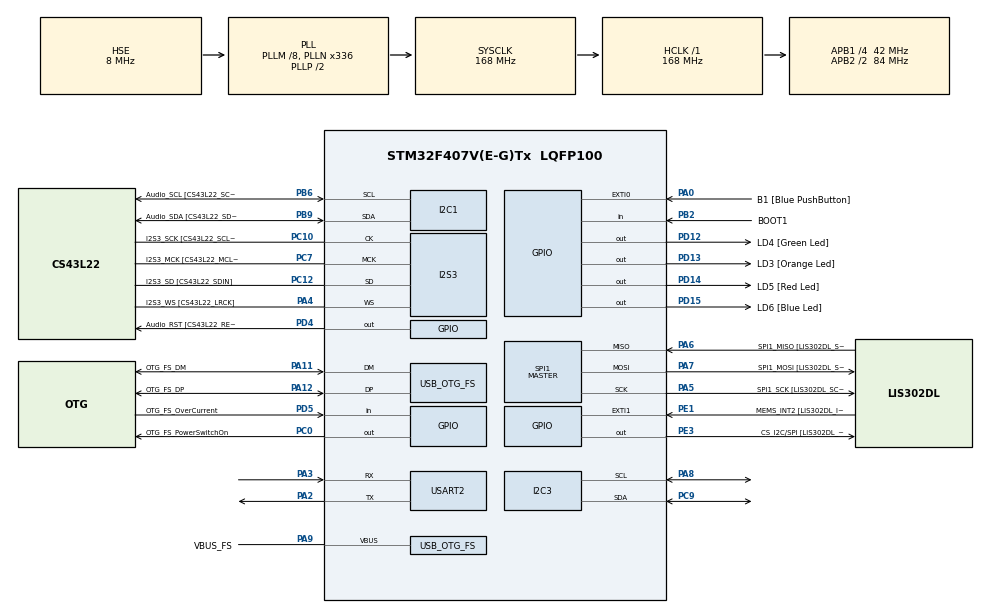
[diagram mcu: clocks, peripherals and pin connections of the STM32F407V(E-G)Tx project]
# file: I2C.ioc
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I2C3.I2C_Mode=I2C_Fast
I2S3.AudioFreq-Half_Duplex_Master=I2S_AUDIOFREQ_96K
I2S3.ErrorAudioFreq=-2.34 %
I2S3.ErrorAudioFreq-Half_Duplex_Master=0.8 %
I2S3.FullDuplexMode=I2S_FULLDUPLEXMODE_DISABLE
I2S3.Instance=SPI$Index
I2S3.RealAudioFreq=93.75 KHz
I2S3.RealAudioFreq-Half_Duplex_Master=96.774 KHz
I2S3.VirtualMode=I2S_MODE_MASTER
Mcu.Family=STM32F4
Mcu.Name=STM32F407V(E-G)Tx
Mcu.Package=LQFP100
NVIC.OTG_FS_IRQn=true\:0\:0\:false\:false\:true\:true\:true
NVIC.PriorityGroup=NVIC_PRIORITYGROUP_0
PA0-WKUP.GPIO_Label=B1 [Blue PushButton]
PA0-WKUP.GPIO_ModeDefaultEXTI=GPIO_MODE_EVT_RISING
PA0-WKUP.GPIO_PuPd=GPIO_NOPULL
PA0-WKUP.Signal=GPXTI0
PA10.GPIO_Label=OTG_FS_ID
PA10.GPIO_Mode=GPIO_MODE_AF_PP
PA10.GPIO_PuPd=GPIO_NOPULL
PA10.GPIO_Speed=GPIO_SPEED_FREQ_LOW
PA10.Signal=USB_OTG_FS_ID
PA11.GPIO_Label=OTG_FS_DM
PA11.GPIO_Mode=GPIO_MODE_AF_PP
PA11.GPIO_PuPd=GPIO_NOPULL
PA11.GPIO_Speed=GPIO_SPEED_FREQ_LOW
PA11.Mode=Host_Only
PA11.Signal=USB_OTG_FS_DM
PA12.GPIO_Label=OTG_FS_DP
PA12.GPIO_Mode=GPIO_MODE_AF_PP
PA12.GPIO_PuPd=GPIO_NOPULL
PA12.GPIO_Speed=GPIO_SPEED_FREQ_LOW
PA12.Mode=Host_Only
PA12.Signal=USB_OTG_FS_DP
PA13.GPIO_Label=SWDIO
PA13.Mode=Serial_Wire
PA13.Signal=SYS_JTMS-SWDIO
PA14.GPIO_Label=SWCLK
PA14.Mode=Serial_Wire
PA14.Signal=SYS_JTCK-SWCLK
PA2.Mode=Asynchronous
PA2.Signal=USART2_TX
PA3.Mode=Asynchronous
PA3.Signal=USART2_RX
PA4.GPIO_Label=I2S3_WS [CS43L22_LRCK]
PA4.GPIO_Mode=GPIO_MODE_AF_PP
PA4.GPIO_PuPd=GPIO_NOPULL
PA4.GPIO_Speed=GPIO_SPEED_FREQ_LOW
PA4.Mode=Half_Duplex_Master
PA4.Signal=I2S3_WS
PA5.GPIO_Label=SPI1_SCK [LIS302DL_SCL/SPC]
PA5.GPIO_Mode=GPIO_MODE_AF_PP
PA5.GPIO_PuPd=GPIO_NOPULL
PA5.GPIO_Speed=GPIO_SPEED_FREQ_LOW
PA5.Mode=Full_Duplex_Master
PA5.Signal=SPI1_SCK
PA6.GPIO_Label=SPI1_MISO [LIS302DL_SDO]
PA6.GPIO_Mode=GPIO_MODE_AF_PP
PA6.GPIO_PuPd=GPIO_NOPULL
PA6.GPIO_Speed=GPIO_SPEED_FREQ_LOW
PA6.Mode=Full_Duplex_Master
PA6.Signal=SPI1_MISO
PA7.GPIO_Label=SPI1_MOSI [LIS302DL_SDA/SDI/SDO]
PA7.GPIO_Mode=GPIO_MODE_AF_PP
PA7.GPIO_PuPd=GPIO_NOPULL
PA7.GPIO_Speed=GPIO_SPEED_FREQ_LOW
PA7.Mode=Full_Duplex_Master
PA7.Signal=SPI1_MOSI
PA8.Mode=I2C
PA8.Signal=I2C3_SCL
PA9.GPIO_Label=VBUS_FS
PA9.GPIO_Mode=GPIO_MODE_INPUT
PA9.GPIO_PuPd=GPIO_NOPULL
PA9.Mode=Activate_VBUS
PA9.Signal=USB_OTG_FS_VBUS
PB10.GPIO_Label=CLK_IN [MP45DT02_CLK]
PB10.GPIO_Mode=GPIO_MODE_AF_PP
PB10.GPIO_PuPd=GPIO_NOPULL
PB10.GPIO_Speed=GPIO_SPEED_FREQ_LOW
PB10.Signal=I2S2_CK
PB2.GPIO_Label=BOOT1
PB2.GPIO_Mode=GPIO_MODE_INPUT
PB2.GPIO_PuPd=GPIO_NOPULL
PB2.Signal=GPIO_Input
PB3.GPIO_Label=SWO
PB3.Signal=SYS_JTDO-SWO
PB6.GPIO_Label=Audio_SCL [CS43L22_SCL]
PB6.GPIO_Mode=GPIO_MODE_AF_OD
PB6.GPIO_PuPd=GPIO_NOPULL
PB6.GPIO_Speed=GPIO_SPEED_FREQ_LOW
PB6.Mode=I2C
PB6.Signal=I2C1_SCL
PB9.GPIO_Label=Audio_SDA [CS43L22_SDA]
PB9.GPIO_Mode=GPIO_MODE_AF_OD
PB9.GPIO_PuPd=GPIO_NOPULL
PB9.GPIO_Speed=GPIO_SPEED_FREQ_LOW
PB9.Mode=I2C
PB9.Signal=I2C1_SDA
PC0.GPIO_Label=OTG_FS_PowerSwitchOn
PC0.GPIO_PuPd=GPIO_NOPULL
PC0.GPIO_Speed=GPIO_SPEED_FREQ_LOW
PC0.PinState=GPIO_PIN_SET
PC0.Signal=GPIO_Output
PC10.GPIO_Label=I2S3_SCK [CS43L22_SCLK]
PC10.GPIO_Mode=GPIO_MODE_AF_PP
PC10.GPIO_PuPd=GPIO_NOPULL
PC10.GPIO_Speed=GPIO_SPEED_FREQ_LOW
PC10.Mode=Half_Duplex_Master
PC10.Signal=I2S3_CK
PC12.GPIO_Label=I2S3_SD [CS43L22_SDIN]
PC12.GPIO_Mode=GPIO_MODE_AF_PP
PC12.GPIO_PuPd=GPIO_NOPULL
PC12.GPIO_Speed=GPIO_SPEED_FREQ_LOW
PC12.Mode=Half_Duplex_Master
PC12.Signal=I2S3_SD
PC14-OSC32_IN.GPIO_Label=PC14-OSC32_IN
PC14-OSC32_IN.Mode=LSE-External-Oscillator
PC14-OSC32_IN.Signal=RCC_OSC32_IN
PC15-OSC32_OUT.GPIO_Label=PC15-OSC32_OUT
PC15-OSC32_OUT.Mode=LSE-External-Oscillator
PC15-OSC32_OUT.Signal=RCC_OSC32_OUT
PC3.GPIO_Label=PDM_OUT [MP45DT02_DOUT]
PC3.GPIO_Mode=GPIO_MODE_AF_PP
PC3.GPIO_PuPd=GPIO_NOPULL
PC3.GPIO_Speed=GPIO_SPEED_FREQ_LOW
PC3.Signal=I2S2_SD
PC7.GPIO_Label=I2S3_MCK [CS43L22_MCLK]
PC7.GPIO_Mode=GPIO_MODE_AF_PP
PC7.GPIO_PuPd=GPIO_NOPULL
PC7.GPIO_Speed=GPIO_SPEED_FREQ_LOW
PC7.Mode=Master_Clock_Activated
PC7.Signal=I2S3_MCK
PC9.Mode=I2C
PC9.Signal=I2C3_SDA
PD12.GPIO_Label=LD4 [Green Led]
PD12.GPIO_PuPd=GPIO_NOPULL
PD12.GPIO_Speed=GPIO_SPEED_FREQ_LOW
PD12.Signal=GPIO_Output
PD13.GPIO_Label=LD3 [Orange Led]
PD13.GPIO_PuPd=GPIO_NOPULL
PD13.GPIO_Speed=GPIO_SPEED_FREQ_LOW
PD13.Signal=GPIO_Output
PD14.GPIO_Label=LD5 [Red Led]
PD14.GPIO_PuPd=GPIO_NOPULL
PD14.GPIO_Speed=GPIO_SPEED_FREQ_LOW
PD14.Signal=GPIO_Output
PD15.GPIO_Label=LD6 [Blue Led]
PD15.GPIO_PuPd=GPIO_NOPULL
PD15.GPIO_Speed=GPIO_SPEED_FREQ_LOW
PD15.Signal=GPIO_Output
PD4.GPIO_Label=Audio_RST [CS43L22_RESET]
PD4.GPIO_PuPd=GPIO_NOPULL
PD4.GPIO_Speed=GPIO_SPEED_FREQ_LOW
PD4.Signal=GPIO_Output
PD5.GPIO_Label=OTG_FS_OverCurrent
PD5.GPIO_Mode=GPIO_MODE_INPUT
PD5.GPIO_PuPd=GPIO_NOPULL
PD5.Signal=GPIO_Input
PE1.GPIO_Label=MEMS_INT2 [LIS302DL_INT2]
PE1.GPIO_ModeDefaultEXTI=GPIO_MODE_EVT_RISING
PE1.GPIO_PuPd=GPIO_NOPULL
PE1.Signal=GPXTI1
PE3.GPIO_Label=CS_I2C/SPI [LIS302DL_CS_I2C/SPI]
PE3.GPIO_PuPd=GPIO_NOPULL
PE3.GPIO_Speed=GPIO_SPEED_FREQ_LOW
PE3.Signal=GPIO_Output
PH0-OSC_IN.GPIO_Label=PH0-OSC_IN
PH0-OSC_IN.Mode=HSE-External-Oscillator
PH0-OSC_IN.Signal=RCC_OSC_IN
PH1-OSC_OUT.GPIO_Label=PH1-OSC_OUT
PH1-OSC_OUT.Mode=HSE-External-Oscillator
PH1-OSC_OUT.Signal=RCC_OSC_OUT
ProjectManager.HeapSize=0x200
ProjectManager.StackSize=0x400
ProjectManager.TargetToolchain=TrueSTUDIO
RCC.48MHZClocksFreq_Value=48000000
RCC.AHBFreq_Value=168000000
RCC.APB1CLKDivider=RCC_HCLK_DIV4
RCC.APB1Freq_Value=42000000
RCC.APB1TimFreq_Value=84000000
RCC.APB2CLKDivider=RCC_HCLK_DIV2
RCC.APB2Freq_Value=84000000
RCC.APB2TimFreq_Value=168000000
RCC.CortexFreq_Value=168000000
RCC.HCLKFreq_Value=168000000
RCC.HSE_VALUE=8000000
RCC.HSI_VALUE=16000000
RCC.PLLM=8
RCC.PLLN=336
RCC.PLLQ=7
RCC.SYSCLKFreq_VALUE=168000000
RCC.SYSCLKSource=RCC_SYSCLKSOURCE_PLLCLK
RCC.VCOOutputFreq_Value=336000000
SPI1.BaudRatePrescaler-Full_Duplex_Master=SPI_BAUDRATEPRESCALER_2
SPI1.CalculateBaudRate-Full_Duplex_Master=42.0 MBits/s
SPI1.Direction=SPI_DIRECTION_2LINES
SPI1.Mode=SPI_MODE_MASTER
SPI1.Mode-Full_Duplex_Master=SPI_MODE_MASTER
SPI1.VirtualType=VM_MASTER
USART2.VirtualMode=VM_ASYNC
USB_HOST.BSP.number=1
USB_HOST.USBH_HandleTypeDef-CDC_FS=hUsbHostFS
USB_HOST.VirtualModeFS=Cdc
USB_HOST0.BSP.STBoard=false
USB_HOST0.BSP.api=Unknown
USB_HOST0.BSP.i2caddr=0
USB_HOST0.BSP.i2creg=0
USB_HOST0.BSP.instance=PC0
USB_HOST0.BSP.ip=GPIO
USB_HOST0.BSP.mode=Output
USB_HOST0.BSP.name=Drive_VBUS_FS
USB_HOST0.BSP.solution=PC0
USB_OTG_FS.VirtualMode=Host_Only
USB_OTG_FS.phy_itface=HCD_PHY_EMBEDDED
VP_USB_HOST_VS_USB_HOST_CDC_FS.Mode=CDC_FS
board=STM32F407G-DISC1

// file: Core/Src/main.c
/* USER CODE BEGIN Header */
/**
  ******************************************************************************
  * @file           : main.c
  * @brief          : Main program body
  ******************************************************************************
  * @attention
  *
  * <h2><center>&copy; Copyright (c) 2020 STMicroelectronics.
  * All rights reserved.</center></h2>
  *
  * This software component is licensed by ST under Ultimate Liberty license
  * SLA0044, the "License"; You may not use this file except in compliance with
  * the License. You may obtain a copy of the License at:
  *                             www.st.com/SLA0044
  *
  ******************************************************************************
  */
/* USER CODE END Header */
#include "main.h"
#include "i2c.h"
#include "i2s.h"
#include "spi.h"
#include "usart.h"
#include "usb_host.h"
#include "gpio.h"

/* USER CODE BEGIN Includes */
#include	<stdio.h>
/* USER CODE END Includes */

/* USER CODE BEGIN PD */
#define	DEFAULT_TIME_OUT	10
#define	EEPROM_DATA_SIZE	10
#define	I2C_EEPROM_ADDR		0xA0
#define	EEPROM_START_ADDR	0x0
#define	DELAY_FOR_I2C_WRITE	3
/* USER CODE END PD */

/* USER CODE BEGIN PV */
typedef struct customer1 {
	int height;
	int weight;
	char name;
} customer_type1;

typedef struct customer2 {
	char name;
	int height;
	int weight;
} __attribute__ ((__packed__)) customer_type2;
/* USER CODE END PV */

void SystemClock_Config(void);
void MX_USB_HOST_Process(void);

/* USER CODE BEGIN 0 */
uint32_t	_write(uint32_t file,uint8_t* p,uint32_t len)
{
	HAL_UART_Transmit(&huart2,p,len,DEFAULT_TIME_OUT);
	return	len;
}
/* USER CODE END 0 */

int main(void)
{

  /* MCU Configuration--------------------------------------------------------*/

  /* Reset of all peripherals, Initializes the Flash interface and the Systick. */
  HAL_Init();

  /* Configure the system clock */
  SystemClock_Config();

  /* Initialize all configured peripherals */
  MX_GPIO_Init();
  MX_I2C1_Init();
  MX_I2S3_Init();
  MX_SPI1_Init();
  MX_USART2_UART_Init();
  MX_USB_HOST_Init();
  MX_I2C3_Init();

  /* Infinite loop */
  /* USER CODE BEGIN WHILE */
  uint8_t	eeprom_data[EEPROM_DATA_SIZE];
  customer_type2	c2;
  printf("<Initialization>\n");
  for(int i=0;i<EEPROM_DATA_SIZE;i++)
  {
	  eeprom_data[i] = 0x11*i;
	  printf("Mem[%d] = %02x\n",i,eeprom_data[i]);
  }

  printf("\n<Write Mem into EEPROM>\n");
  HAL_I2C_Mem_Write(&hi2c3,I2C_EEPROM_ADDR,EEPROM_START_ADDR,I2C_MEMADD_SIZE_8BIT,
		  	  	  	eeprom_data,EEPROM_DATA_SIZE,DEFAULT_TIME_OUT);

  HAL_Delay(DELAY_FOR_I2C_WRITE);

  printf("\n<Clear>\n");
  for(int i=0;i<EEPROM_DATA_SIZE;i++)
  {
  	  eeprom_data[i] = 0xFF;
  	  printf("Mem[%d] = %02x\n",i,eeprom_data[i]);
  }

  HAL_I2C_Mem_Read(&hi2c3,I2C_EEPROM_ADDR,EEPROM_START_ADDR,I2C_MEMADD_SIZE_8BIT,
	  	  		   eeprom_data,EEPROM_DATA_SIZE,DEFAULT_TIME_OUT);

  printf("\n<Read from EEPROM>\n");
  for(int i=0;i<EEPROM_DATA_SIZE;i++)
  {
	printf("Mem[%d] = %02x\n",i,eeprom_data[i]);
  }

  printf("%d\n",sizeof(customer_type1));
  printf("%d\n",sizeof(customer_type2));

  printf("0x%08X\n",&c2.name);
  printf("0x%08X\n",&c2.height);
  printf("0x%08X\n",&c2.weight);

  c2.height = 100;
  c2.weight = 200;

  while (1)
  {
    /* USER CODE END WHILE */
    MX_USB_HOST_Process();

  }
}

void SystemClock_Config(void)
{
  RCC_OscInitTypeDef RCC_OscInitStruct = {0};
  RCC_ClkInitTypeDef RCC_ClkInitStruct = {0};
  RCC_PeriphCLKInitTypeDef PeriphClkInitStruct = {0};

  /** Configure the main internal regulator output voltage
  */
  __HAL_RCC_PWR_CLK_ENABLE();
  __HAL_PWR_VOLTAGESCALING_CONFIG(PWR_REGULATOR_VOLTAGE_SCALE1);
  /** Initializes the RCC Oscillators according to the specified parameters
  * in the RCC_OscInitTypeDef structure.
  */
  RCC_OscInitStruct.OscillatorType = RCC_OSCILLATORTYPE_HSE;
  RCC_OscInitStruct.HSEState = RCC_HSE_ON;
  RCC_OscInitStruct.PLL.PLLState = RCC_PLL_ON;
  RCC_OscInitStruct.PLL.PLLSource = RCC_PLLSOURCE_HSE;
  RCC_OscInitStruct.PLL.PLLM = 8;
  RCC_OscInitStruct.PLL.PLLN = 336;
  RCC_OscInitStruct.PLL.PLLP = RCC_PLLP_DIV2;
  RCC_OscInitStruct.PLL.PLLQ = 7;
  if (HAL_RCC_OscConfig(&RCC_OscInitStruct) != HAL_OK)
  {
    Error_Handler();
  }
  /** Initializes the CPU, AHB and APB buses clocks
  */
  RCC_ClkInitStruct.ClockType = RCC_CLOCKTYPE_HCLK|RCC_CLOCKTYPE_SYSCLK
                              |RCC_CLOCKTYPE_PCLK1|RCC_CLOCKTYPE_PCLK2;
  RCC_ClkInitStruct.SYSCLKSource = RCC_SYSCLKSOURCE_PLLCLK;
  RCC_ClkInitStruct.AHBCLKDivider = RCC_SYSCLK_DIV1;
  RCC_ClkInitStruct.APB1CLKDivider = RCC_HCLK_DIV4;
  RCC_ClkInitStruct.APB2CLKDivider = RCC_HCLK_DIV2;

  if (HAL_RCC_ClockConfig(&RCC_ClkInitStruct, FLASH_LATENCY_5) != HAL_OK)
  {
    Error_Handler();
  }
  PeriphClkInitStruct.PeriphClockSelection = RCC_PERIPHCLK_I2S;
  PeriphClkInitStruct.PLLI2S.PLLI2SN = 192;
  PeriphClkInitStruct.PLLI2S.PLLI2SR = 2;
  if (HAL_RCCEx_PeriphCLKConfig(&PeriphClkInitStruct) != HAL_OK)
  {
    Error_Handler();
  }
}

void Error_Handler(void)
{
}

/************************ (C) COPYRIGHT STMicroelectronics *****END OF FILE****/
